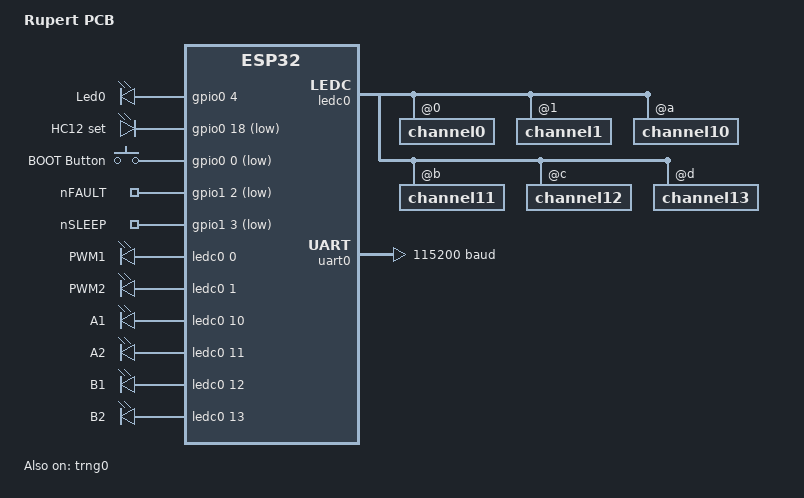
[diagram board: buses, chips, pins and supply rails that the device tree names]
/*
 * Copyright (c) 2019 Intel Corporation.
 *
 * SPDX-License-Identifier: Apache-2.0
 * 
 * Rupert PCB devicetree, based on ESP32 devicetree definition in zephyr
 */
/dts-v1/;

#include <espressif/esp32.dtsi>
#include "rupert_pcb-pinctrl.dtsi"

/ {
	model = "Rupert PCB";
	compatible = "vendor,rupert-pcb";

	aliases {
		uart-0 = &uart0;
		led0 = &led0;
		sw0 = &button0;
		watchdog0 = &wdt0;
		// Rupert-specific aliases
		a1 = &pwm_a1;
		a2 = &pwm_a2;
		b1 = &pwm_b1;
		b2 = &pwm_b2;
		pwm1 = &pwm1;
		pwm2 = &pwm2;
		hc12 = &uart2;
		hc12-set = &hc12_set;
		nfault = &nfault;
		nsleep = &nsleep;
		motion-sensor = &motion_sensor;
	};

	chosen {
		zephyr,sram = &sram0;
		zephyr,console = &uart0;
		zephyr,shell-uart = &uart0;
		zephyr,flash = &flash0;
	};

	output_pins {
		compatible = "gpio-leds";
		led0: led0 {
			gpios = <&gpio0 4 GPIO_ACTIVE_HIGH>;
			label = "Led0";
		};
		hc12_set: hc12_set {
			gpios = <&gpio0 18 GPIO_ACTIVE_LOW>;
			label = "HC12 set";
		};
	};

	input_pins {
		compatible = "gpio-keys";
		button0: button_0 {
			gpios = <&gpio0 0 (GPIO_PULL_UP | GPIO_ACTIVE_LOW)>;
			label = "BOOT Button";
		};
		nfault: nfault {
			gpios = <&gpio1 2 GPIO_ACTIVE_LOW>;
			label = "nFAULT";
        };
		nsleep: nsleep {
			gpios = <&gpio1 3 GPIO_ACTIVE_LOW>;
			label = "nSLEEP";
        };
	};

	pwm_pins {
		compatible = "pwm-leds";
		pwm1: pwm1_gpio19 {
			pwms = <&ledc0 0 0 PWM_POLARITY_NORMAL>;
			label = "PWM1";
		};
		pwm2: pwm2_gpio21 {
			pwms = <&ledc0 1 0 PWM_POLARITY_NORMAL>;
			label = "PWM2";
		};
		pwm_a1: pwm_a1_gpio22 {
			pwms = <&ledc0 10 0 PWM_POLARITY_NORMAL>;
			label = "A1";
		};
		pwm_a2: pwm_a2_gpio23 {
			pwms = <&ledc0 11 0 PWM_POLARITY_NORMAL>;
			label = "A2";
		};
		pwm_b1: pwm_b1_gpio32 {
			pwms = <&ledc0 12 0 PWM_POLARITY_NORMAL>;
			label = "B1";
		};
		pwm_b2: pwm_b2_gpio33 {
			pwms = <&ledc0 13 0 PWM_POLARITY_NORMAL>;
			label = "B2";
		};
	};

	power-states {
		light_sleep: light_sleep {
			compatible = "zephyr,power-state";
			power-state-name = "standby";
			min-residency-us = <200>;
			exit-latency-us = <60>;
		};

		deep_sleep: deep_sleep {
			compatible = "zephyr,power-state";
			power-state-name = "soft-off";
			min-residency-us = <2000>;
			exit-latency-us = <212>;
		};
	};

};

&ledc0 {
	pinctrl-0 = <&ledc0_default>;
	pinctrl-names = "default";
	status = "okay";
	#address-cells = <1>;
	#size-cells = <0>;
	channel0@0 {
		reg = <0x0>;
		timer = <0>;
	};
	channel1@1 {
		reg = <0x1>;
		timer = <0>;
	};
	channel10@a {
		reg = <0xa>;
		timer = <0>;
	};
	channel11@b {
		reg = <0xb>;
		timer = <0>;
	};
	channel12@c {
		reg = <0xc>;
		timer = <0>;
	};
	channel13@d {
		reg = <0xd>;
		timer = <0>;
	};
};

&cpu0 {
	clock-frequency = <ESP32_CLK_CPU_240M>;
	cpu-power-states = <&light_sleep &deep_sleep>;
};

&cpu1 {
	clock-frequency = <ESP32_CLK_CPU_240M>;
};

&uart0 {
	status = "okay";
	current-speed = <115200>;
	pinctrl-0 = <&uart0_default>;
	pinctrl-names = "default";
};

&uart1 {
	status = "disabled";
	current-speed = <115200>;
	pinctrl-0 = <&uart1_default>;
	pinctrl-names = "default";
};

&uart2 {
	status = "disabled";
	current-speed = <9600>;
	pinctrl-0 = <&uart2_default>;
	pinctrl-names = "default";
};

&gpio0 {
	status = "okay";
};

&gpio1 {
	status = "okay";
};

&i2c0 {
	status = "disabled";
	clock-frequency = <I2C_BITRATE_STANDARD>;
	sda-gpios = <&gpio0 21 GPIO_OPEN_DRAIN>;
	scl-gpios = <&gpio0 22 GPIO_OPEN_DRAIN>;
	pinctrl-0 = <&i2c0_default>;
	pinctrl-names = "default";
};

&spi2 {
	status = "disabled";
	compatible = "espressif,esp32-spi";
	#address-cells = <1>;
	#size-cells = <0>;
	pinctrl-0 = <&spim2_default>;
	pinctrl-names = "default";
	cs-gpios = <&gpio0 15 GPIO_ACTIVE_LOW>;
	motion_sensor: icm20948@0 {
		compatible = "invensense,icm20948";
		spi-max-frequency = <1000000>;
		reg = <0>;
	};
};

&spi3 {
	status = "disabled";
	#address-cells = <1>;
	#size-cells = <0>;
	pinctrl-0 = <&spim3_default>;
	pinctrl-names = "default";
};

&timer0 {
	status = "disabled";
};

&timer1 {
	status = "disabled";
};

&timer2 {
	status = "disabled";
};

&timer3 {
	status = "disabled";
};

&trng0 {
	status = "okay";
};

&flash0 {
	status = "okay";
	partitions {
		compatible = "fixed-partitions";
		#address-cells = <1>;
		#size-cells = <1>;

		/* Reserve 60kB for the bootloader */
		boot_partition: partition@1000 {
			label = "mcuboot";
			reg = <0x00001000 0x0000F000>;
			read-only;
		};

		/* Reserve 1024kB for the application in slot 0 */
		slot0_partition: partition@10000 {
			label = "image-0";
			reg = <0x00010000 0x00100000>;
		};

		/* Reserve 1024kB for the application in slot 1 */
		slot1_partition: partition@110000 {
			label = "image-1";
			reg = <0x00110000 0x00100000>;
		};

		/* Reserve 256kB for the scratch partition */
		scratch_partition: partition@210000 {
			   label = "image-scratch";
			   reg = <0x00210000 0x00040000>;
		};

		storage_partition: partition@250000 {
			label = "storage";
			reg = <0x00250000 0x00006000>;
		};
	};
};
